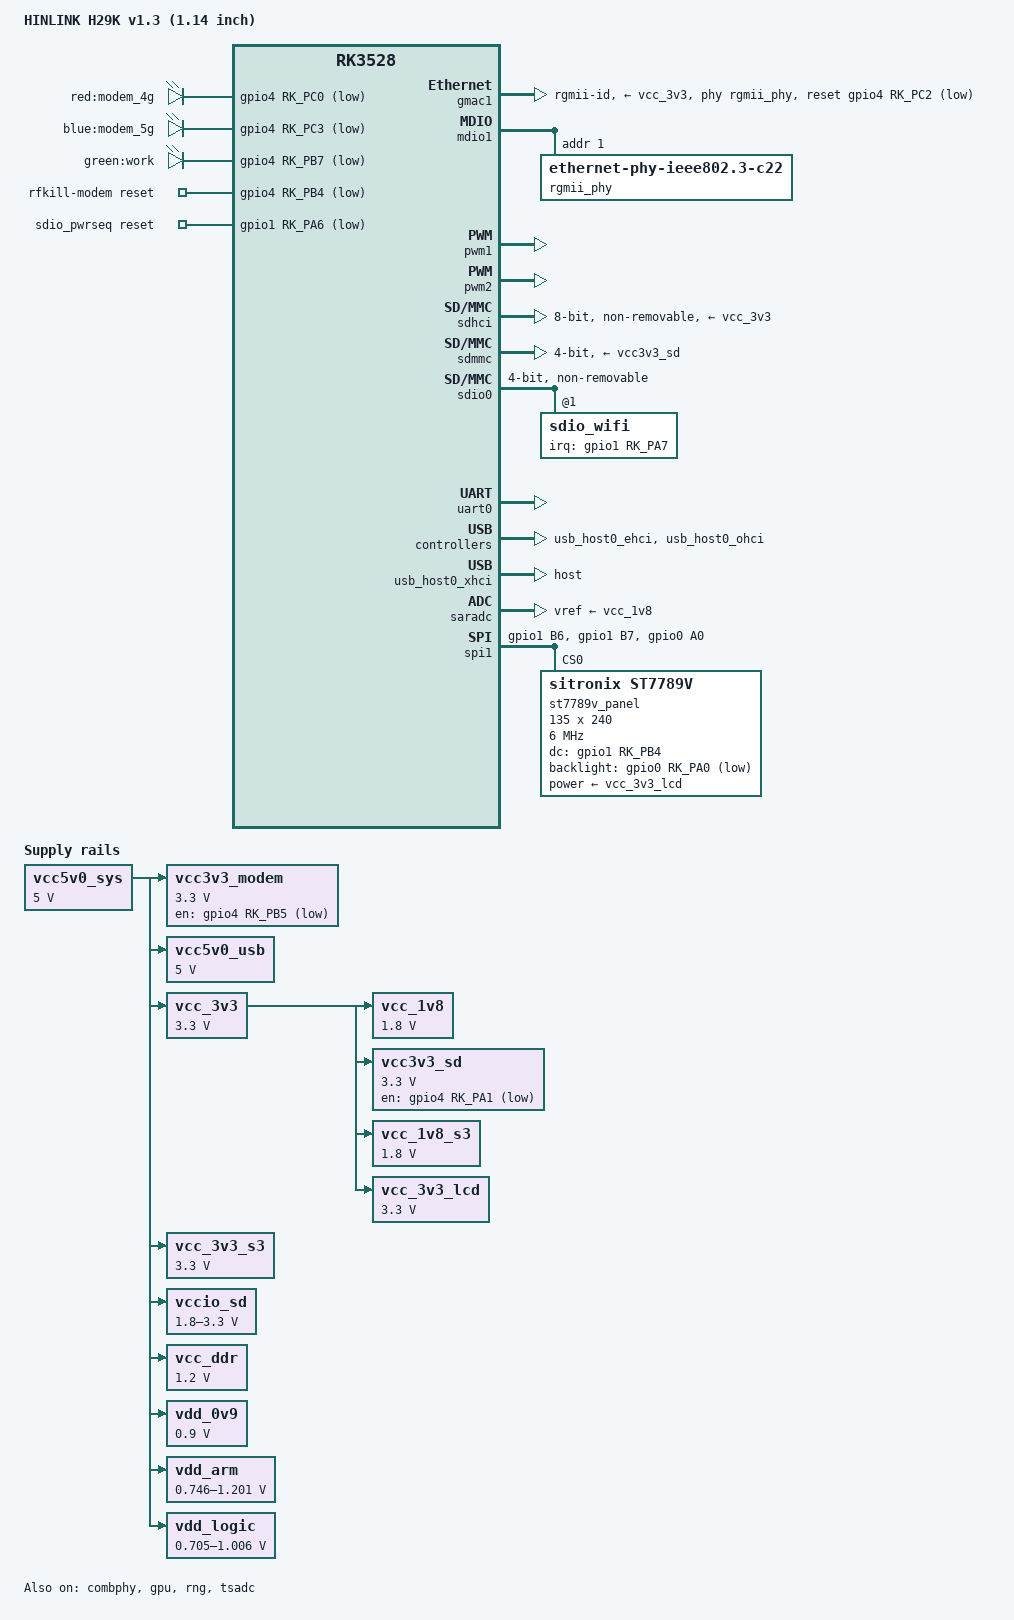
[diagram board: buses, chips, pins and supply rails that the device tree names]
// SPDX-License-Identifier: (GPL-2.0+ OR MIT)
/*
 * HinLink H29K —— v1.3 主板 + 1.14 寸屏（135x240 rot270）
 *
 * ★ 网络：**单网口** —— 只有板载 RGMII(gmac1)。
 *   本 DTS 不含任何 PCIe 网卡节点，因此枚举结果只有 eth0。
 *   厂商 DTS 与上游 unifreq rk3528-hlink-h29k.dts 同样是单口
 *   （aliases 里只有 ethernet0 = &gmac1），两侧一致。
 *   ⇒ board.d/02_network 对本机只映射 eth0，不设独立 WAN。
 *
 * ★ 屏幕尺寸只保留 1.14" 与 1.49" 两种；厂商的 1.9" / 2.8" 变体已移除。
 */

/dts-v1/;
#include <dt-bindings/gpio/gpio.h>
#include <dt-bindings/pinctrl/rockchip.h>

#include "rk3528.dtsi"

/ {
	model = "HINLINK H29K v1.3 (1.14 inch)";
	// 屏幕: 1.14" 135x240 rot270
	// 屏幕: 1.14" 135x240
	compatible = "hinlink,h29k-v1.3-114", "hinlink,h29k", "rockchip,rk3528";

	aliases {
		mmc0 = &sdhci;
		mmc1 = &sdmmc;
		mmc2 = &sdio0;
		ethernet0 = &gmac1;

		led-boot = &led_work;
		led-failsafe = &led_work;
		led-running = &led_work;
		led-upgrade = &led_work;
	};

	chosen {
		stdout-path = "serial0:1500000n8";
	};

	leds {
		compatible = "gpio-leds";
		pinctrl-names = "default";
		pinctrl-0 = <&modem_4g_led>,<&modem_5g_led>, <&work_led_en>;

		modem_4g: modem_4g {
			label = "red:modem_4g";
			gpios = <&gpio4 RK_PC0 GPIO_ACTIVE_LOW>;
		};

		modem_5g: modem_5g {
			label = "blue:modem_5g";
			gpios = <&gpio4 RK_PC3 GPIO_ACTIVE_LOW>;
		};

		led_work: work {
			label = "green:work";
			gpios = <&gpio4 RK_PB7 GPIO_ACTIVE_LOW>;
		};
	};




	/*
	 * ============ 5G 模组：供电（regulator）+ 复位（rfkill-gpio）============
	 *
	 * 硬件（厂商 H29K 固件 dtb f3_318a000_40194.dtb，
	 * model="HINLINK H29K Board"，逐字段实证）：
	 *
	 *     rfkill-modem {
	 *         compatible = "rfkill-gpio";
	 *         type = "wwan";
	 *         reset-gpios = <&gpio4 RK_PB4 GPIO_ACTIVE_LOW>;   ← 复位
	 *         power-gpios = <&gpio4 RK_PB5 GPIO_ACTIVE_LOW>;   ← 供电
	 *     };
	 *
	 * 厂商这段**不能直接照抄**，两个坑：
	 *   1) `power-gpios` 在 6.18 上**没有任何实现** ——
	 *      net/rfkill/rfkill-gpio.c 只 request `reset` / `shutdown`。
	 *      ⇒ 供电脚 GPIO4_B5 得另找主人，本文件交给 vcc3v3_modem regulator。
	 *   2) 属性名变了：6.18 对 DT 节点读 `label` / `radio-type`，
	 *      厂商写的 `name` / `type` 会被忽略（type 退化成 RFKILL_TYPE_ALL，
	 *      按 type 就找不到设备）。
	 *
	 * 分工（详见 docs/HARDWARE.md §四、§4.9）：
	 *   · `vcc3v3_modem`（regulator，GPIO4_B5）—— 供电，常开
	 *   · `rfkill-modem`（rfkill-gpio，GPIO4_B4）—— 复位，**可软复位**
	 *       用户态：echo 0 > /sys/class/rfkill/rfkillN/state   （拉复位）
	 *               echo 1 > /sys/class/rfkill/rfkillN/state   （释放）
	 *       已封装成 `/etc/init.d/hinlink-modem-hardreset reset`。
	 *
	 * ★★ 极性：只由 `enable-active-high` 决定，不能凭 GPIO_ACTIVE_LOW 猜 ★★
	 *   6.18 的 drivers/gpio/gpiolib-of.c 里有一张极性映射表，注释原文：
	 *     "The regulator GPIO handles are specified such that the presence
	 *      or absence of enable-active-high solely controls the polarity of
	 *      the GPIO line. Any phandle flags must be actively ignored."
	 *   ⇒ 下面的 vcc3v3_modem **不写** enable-active-high = 低电平使能
	 *     （与厂商 rfkill 段里 GPIO_ACTIVE_LOW 表达的意图一致）。
	 *     写了 enable-active-high 会变成高电平使能，模组将无法上电。
	 */
	vcc3v3_modem: vcc3v3-modem {
		compatible = "regulator-fixed";
		regulator-name = "vcc3v3_modem";
		gpio = <&gpio4 RK_PB5 GPIO_ACTIVE_LOW>;   /* 仅语义标注，内核忽略 flag */
		regulator-always-on;
		regulator-boot-on;
		regulator-min-microvolt = <3300000>;
		regulator-max-microvolt = <3300000>;
		startup-delay-us = <5000>;                /* 电源稳定 5ms */
		vin-supply = <&vcc5v0_sys>;
		pinctrl-names = "default";
		pinctrl-0 = <&modem_power_en>;
	};

	/*
	 * ============ 5G 模组复位 —— 交给 rfkill-gpio，换来「软复位」============
	 *
	 * 供电仍由上面的 vcc3v3_modem regulator 负责（内核保证上电）；
	 * 复位脚 GPIO4_B4 交给 rfkill-gpio。
	 *
	 * ★ 为什么要交给 rfkill-gpio：regulator-fixed 和 rfkill-gpio 都会
	 *   **占用**这个 GPIO（用户态 export 必 EBUSY），但 rfkill-gpio 在
	 *   /sys/class/rfkill/ 下留了一个**可写**的 state 属性 ——
	 *   6.18 net/rfkill/core.c: `static DEVICE_ATTR_RW(state)`，其
	 *   state_store() 会调 rfkill_set_block() → rfkill_gpio_set_power()：
	 *
	 *       echo 0 > /sys/class/rfkill/rfkillN/state   → blocked=1
	 *             → gpiod_set_value(reset_gpio, 0)     = 复位有效
	 *       echo 1 > /sys/class/rfkill/rfkillN/state   → blocked=0
	 *             → gpiod_set_value(reset_gpio, 1)     = 复位释放
	 *
	 *   ⇒ 0 → 等一会儿 → 1 就是一次完整的复位脉冲，而且**不需要装
	 *     rfkill 命令**（纯 sysfs）。已封装成 /etc/init.d/hinlink-modem-hardreset reset。
	 *
	 * ⚠️ 属性名必须是 `label` + `radio-type`
	 *   6.18 的 rfkill_gpio_probe() 对 DT 节点读的是：
	 *       name_property = "label";   type_property = "radio-type";
	 *   （只有非 DT 路径才读 "name" / "type"）。
	 *   厂商 dtb 写的是 `type = "wwan"` —— 在老内核有效，在 6.18 **被忽略**，
	 *   type 退化成 RFKILL_TYPE_ALL，按 type 查找就找不到设备了。
	 *
	 * ⚠️ 不要再写 `power-gpios` —— 6.18 的 rfkill-gpio 只 request
	 *   `reset` / `shutdown`，`power` 无任何实现（见 docs/HARDWARE.md §4.4）。
	 *
	 * 极性：厂商 dtb 标 GPIO_ACTIVE_LOW。unblock 时 gpiod_set_value(1)
	 *   → 物理**低** = 模组工作；block 时物理**高** = 复位。
	 */
	rfkill-modem {
		compatible = "rfkill-gpio";
		label = "rfkill-modem";
		radio-type = "wwan";
		reset-gpios = <&gpio4 RK_PB4 GPIO_ACTIVE_LOW>;
		pinctrl-names = "default";
		pinctrl-0 = <&modem_reset_en>;
	};


	vcc5v0_sys: vcc5v0-sys {
		compatible = "regulator-fixed";
		regulator-name = "vcc5v0_sys";
		regulator-always-on;
		regulator-boot-on;
		regulator-min-microvolt = <5000000>;
		regulator-max-microvolt = <5000000>;
	};
	
	vcc5v0_usb: vcc5v0-usb {
		compatible = "regulator-fixed";
		regulator-name = "vcc5v0_usb";
		regulator-always-on;
		regulator-boot-on;
		regulator-min-microvolt = <5000000>;
		regulator-max-microvolt = <5000000>;
		vin-supply = <&vcc5v0_sys>;
	};

	vcc_3v3: vcc-3v3 {
		compatible = "regulator-fixed";
		regulator-name = "vcc_3v3";
		regulator-always-on;
		regulator-boot-on;
		regulator-min-microvolt = <3300000>;
		regulator-max-microvolt = <3300000>;
		vin-supply = <&vcc5v0_sys>;
	};

	vcc_1v8: vcc-1v8 {
		compatible = "regulator-fixed";
		regulator-name = "vcc_1v8";
		regulator-always-on;
		regulator-boot-on;
		regulator-min-microvolt = <1800000>;
		regulator-max-microvolt = <1800000>;
		vin-supply = <&vcc_3v3>;
	};

	vcc3v3_sd: vcc3v3-sd {
		compatible = "regulator-fixed";
		gpio = <&gpio4 RK_PA1 GPIO_ACTIVE_LOW>;
		regulator-name = "vcc3v3_sd";
		regulator-always-on;
		regulator-boot-on;
		regulator-min-microvolt = <3300000>;
		regulator-max-microvolt = <3300000>;
		vin-supply = <&vcc_3v3>;
	};
	
	vcc_3v3_s3: vcc-3v3-s3 {
		compatible = "regulator-fixed";
		regulator-name = "vcc_3v3_s3";
		regulator-always-on;
		regulator-boot-on;
		regulator-min-microvolt = <3300000>;
		regulator-max-microvolt = <3300000>;
		vin-supply = <&vcc5v0_sys>;
	};

	vcc_1v8_s3: vcc-1v8-s3 {
		compatible = "regulator-fixed";
		regulator-name = "vcc_1v8_s3";
		regulator-always-on;
		regulator-boot-on;
		regulator-min-microvolt = <1800000>;
		regulator-max-microvolt = <1800000>;
		vin-supply = <&vcc_3v3>;
	};

	vcc_3v3_lcd: vcc-3v3-lcd {
		compatible = "regulator-fixed";
		regulator-name = "vcc_3v3_lcd";
		regulator-min-microvolt = <3300000>;
		regulator-max-microvolt = <3300000>;
		vin-supply = <&vcc_3v3>;
	};

	vccio_sd: vccio-sd {
		compatible = "regulator-gpio";
		gpios = <&gpio4 RK_PB6 GPIO_ACTIVE_HIGH>;
		regulator-name = "vccio_sd";
		regulator-min-microvolt = <1800000>;
		regulator-max-microvolt = <3300000>;
		states = <1800000 0x0>, <3300000 0x1>;
		vin-supply = <&vcc5v0_sys>;
	};

	vcc_ddr: vcc-ddr {
		compatible = "regulator-fixed";
		regulator-name = "vcc_ddr";
		regulator-always-on;
		regulator-boot-on;
		regulator-min-microvolt = <1200000>;
		regulator-max-microvolt = <1200000>;
		vin-supply = <&vcc5v0_sys>;
	};

	vdd_0v9: vdd-0v9 {
		compatible = "regulator-fixed";
		regulator-name = "vdd_0v9";
		regulator-always-on;
		regulator-boot-on;
		regulator-min-microvolt = <900000>;
		regulator-max-microvolt = <900000>;
		vin-supply = <&vcc5v0_sys>;
	};

	vdd_arm: vdd-arm {
		compatible = "pwm-regulator";
		pwms = <&pwm1 0 5000 1>;
		regulator-name = "vdd_arm";
		regulator-min-microvolt = <746000>;
		regulator-max-microvolt = <1201000>;
		regulator-always-on;
		regulator-boot-on;
		regulator-settling-time-up-us = <250>;
		pwm-supply = <&vcc5v0_sys>;
		/*
		 * ★ 厂商 H29K dtb 未提供 ramp-delay，但不加会打
		 *   `vdd_cpu: ramp_delay not set` 警告。
		 *   本机与 H28K/HT2 是同一路 5kHz PWM 调压、
		 *   电压范围逐字节相同（vdd_arm 746~1201000 /
		 *   vdd_logic 705~1006000），故取厂商 H28K 的 6001。
		 */
		regulator-ramp-delay = <6001>;
	};

	vdd_logic: vdd-logic {
		compatible = "pwm-regulator";
		pwms = <&pwm2 0 5000 1>;
		regulator-name = "vdd_logic";
		regulator-min-microvolt = <705000>;
		regulator-max-microvolt = <1006000>;
		regulator-always-on;
		regulator-boot-on;
		regulator-settling-time-up-us = <250>;
		pwm-supply = <&vcc5v0_sys>;
		/*
		 * ★ 厂商 H29K dtb 未提供 ramp-delay，但不加会打
		 *   `vdd_cpu: ramp_delay not set` 警告。
		 *   本机与 H28K/HT2 是同一路 5kHz PWM 调压、
		 *   电压范围逐字节相同（vdd_arm 746~1201000 /
		 *   vdd_logic 705~1006000），故取厂商 H28K 的 6001。
		 */
		regulator-ramp-delay = <6001>;
	};

	sdio_pwrseq: sdio-pwrseq {
		compatible = "mmc-pwrseq-simple";
		pinctrl-names = "default";
		pinctrl-0 = <&wifi_enable_h>;
		reset-gpios = <&gpio1 RK_PA6 GPIO_ACTIVE_LOW>;
	};
};

&combphy {
	status = "okay";
};

&cpu0 {
	cpu-supply = <&vdd_arm>;
};

&cpu1 {
	cpu-supply = <&vdd_arm>;
};

&cpu2 {
	cpu-supply = <&vdd_arm>;
};

&cpu3 {
	cpu-supply = <&vdd_arm>;
};

/*
 * ★ 已注释：内核 6.18 的 rk3528.dtsi 里**没有 sfc 节点**
 *   （实测 dtc 报 "Label or path sfc not found"）。
 *   RK3528 是 Linux 6.14 才引入的，该 SoC 的 sfc 支持尚不完整。
 *   保留原文以便内核补齐后直接恢复。
 * &sfc {
 * 	status = "okay";
 * };
 */

&gmac1 {
	clock_in_out = "output";
	pinctrl-names = "default";
	pinctrl-0 = <&rgmii_miim
		     &rgmii_tx_bus2
		     &rgmii_rx_bus2
		     &rgmii_rgmii_clk
		     &rgmii_rgmii_bus>;
	phy-handle = <&rgmii_phy>;
	phy-mode = "rgmii-id";
	phy-supply = <&vcc_3v3>;
	snps,reset-active-low;
	snps,reset-delays-us = <0 20000 100000>;
	snps,reset-gpio = <&gpio4 RK_PC2 GPIO_ACTIVE_LOW>;
	status = "okay";
};

&gpu {
	mali-supply = <&vdd_logic>;
	status = "okay";
};

&mdio1 {
	rgmii_phy: phy@1 {
		compatible = "ethernet-phy-ieee802.3-c22";
		reg = <0x1>;
	};
};

&pinctrl {
	leds {

		work_led_en: led-work-en {
			rockchip,pins = <4 RK_PB7 RK_FUNC_GPIO &pcfg_pull_none>;
		};

		modem_4g_led: modem_4g_led{
			rockchip,pins = <4 RK_PC0 RK_FUNC_GPIO &pcfg_pull_none>;
		};

		modem_5g_led: modem_5g_led{
			rockchip,pins = <4 RK_PC3 RK_FUNC_GPIO &pcfg_pull_none>;
		};
	};
	
	wifi {
		wifi_enable_h: wifi-enable-h {
			rockchip,pins = <1 RK_PA6 RK_FUNC_GPIO &pcfg_pull_none>;
		};

		wifi_host_wake: wifi-host-wake {
			rockchip,pins = <1 RK_PA7 RK_FUNC_GPIO &pcfg_pull_down>;
		};
	};

	/* 5G 模组：供电 + 复位（GPIO4_B5 / GPIO4_B4，厂商 dtb 实证） */
	modem {
		modem_power_en: modem-power-en {
			rockchip,pins = <4 RK_PB5 RK_FUNC_GPIO &pcfg_pull_none>;
		};

		modem_reset_en: modem-reset-en {
			rockchip,pins = <4 RK_PB4 RK_FUNC_GPIO &pcfg_pull_none>;
		};
	};

	bluetooth {
		bt_enable_h: bt-enable-h {
			rockchip,pins = <1 RK_PC1 RK_FUNC_GPIO &pcfg_pull_down>;
		};

		uart2m1_gpios: uart2m1-gpios {
			rockchip,pins = <1 RK_PB2 RK_FUNC_GPIO &pcfg_pull_none>;
		};
	};

	lcd {
		lcd_dc_pin: lcd-dc-pin {
			rockchip,pins = <1 RK_PB4 RK_FUNC_GPIO &pcfg_pull_up_drv_level_6>;
		};
		
		spi1_custom_pins: spi4-custom-pins {
			rockchip,pins =
				/* spi1_clk_m2 */
				<1 RK_PB6 2 &pcfg_pull_none_drv_level_2>,
				/* spi1_mosi_m2 */
				<1 RK_PB7 2 &pcfg_pull_none_drv_level_2>;
		};

		lcd_backlight_pin: lcd-backlight-pin {
            rockchip,pins = <0 RK_PA0 RK_FUNC_GPIO &pcfg_pull_up>;  // 背光引脚
        };
	};
    
};


&pwm1 {
	status = "okay";
};

&pwm2 {
	status = "okay";
};

&rng {
	status = "okay";
};

&sdhci {
	bus-width = <8>;
	mmc-hs200-1_8v;
	max-frequency = <200000000>;
	non-removable;
	pinctrl-names = "default";
	pinctrl-0 = <&emmc_bus8 &emmc_clk &emmc_cmd &emmc_strb>;
	vmmc-supply = <&vcc_3v3>;
	vqmmc-supply = <&vcc_1v8>;
	status = "okay";
};


&sdmmc {
	bus-width = <4>;
	cap-sd-highspeed;
	disable-wp;
	max-frequency = <150000000>;
	pinctrl-names = "default";
	pinctrl-0 = <&sdmmc_bus4 &sdmmc_clk &sdmmc_cmd &sdmmc_det>;
	rockchip,default-sample-phase = <90>;
	sd-uhs-sdr12;
	sd-uhs-sdr25;
	sd-uhs-sdr50;
	sd-uhs-sdr104;
	vmmc-supply = <&vcc3v3_sd>;
	vqmmc-supply = <&vccio_sd>;
	status = "okay";
};

&sdio0 {
	#address-cells = <1>;
	#size-cells = <0>;
	bus-width = <4>;
	cap-sd-highspeed;
	cap-sdio-irq;
	keep-power-in-suspend;
	max-frequency = <200000000>;
	mmc-pwrseq = <&sdio_pwrseq>;
	pinctrl-names = "default";
	pinctrl-0 = <&sdio0_bus4 &sdio0_cmd &sdio0_clk>;
	post-power-on-delay-ms = <50>;
	non-removable;
	sd-uhs-sdr104;
	status = "okay";

	sdio_wifi@1 {

		reg = <1>;
		interrupt-parent = <&gpio1>;
		interrupts = <RK_PA7 IRQ_TYPE_LEVEL_HIGH>;
		interrupt-names = "host-wake";
		pinctrl-names = "default";
		pinctrl-0 = <&wifi_host_wake>;
	};
};

&tsadc {
	status = "okay";
};

&uart0 {
	pinctrl-names = "default";
	pinctrl-0 = <&uart0m0_xfer>;
	status = "okay";
};

/*
 * ★ 已注释：内核 6.18 的 rk3528.dtsi 里**没有 usb2phy0_host 节点**
 *   （实测 dtc 报 "Label or path usb2phy0_host not found"）。
 *   RK3528 是 Linux 6.14 才引入的，该 SoC 的 usb2phy0_host 支持尚不完整。
 *   保留原文以便内核补齐后直接恢复。
 * &usb2phy0_host {
 * 	phy-supply = <&vcc5v0_sys>;
 * 	status = "okay";
 * };
 */

/*
 * ★ 已注释：内核 6.18 的 rk3528.dtsi 里**没有 usb2phy0_otg 节点**
 *   （实测 dtc 报 "Label or path usb2phy0_otg not found"）。
 *   RK3528 自 Linux 6.14 引入，该 SoC 的 USB2 PHY 支持尚不完整。
 *   保留原文以便内核补齐后直接恢复。
 * &usb2phy0_otg {
 * 	phy-supply = <&vcc5v0_sys>;
 * 	vbus-supply = <&vcc_3v3>;
 * 	status = "okay";
 * };
 */

/*
 * ★ 已注释：内核 6.18 的 rk3528.dtsi 里**没有 usb2phy 节点**
 *   （实测 dtc 报 "Label or path usb2phy not found"）。
 *   RK3528 自 Linux 6.14 引入，该 SoC 的 USB2 PHY 支持尚不完整。
 *   保留原文以便内核补齐后直接恢复。
 * &usb2phy {
 * 	status = "okay";
 * };
 */

// &usbdrd30 {
//	status = "okay";
// };

// &usbdrd_dwc3 {
// 	dr_mode = "host";
// 	status = "okay";
// };

&usb_host0_ehci {
	status = "okay";
};

&usb_host0_ohci {
	status = "okay";
};

&usb_host0_xhci {
	dr_mode = "host";
	status = "okay";
};

&saradc {
    compatible = "rockchip,rk3528-saradc";
	vref-supply = <&vcc_1v8>;
	status = "okay";
};



&spi1 {  
	#address-cells = <1>;  
	#size-cells = <0>;  
	assigned-clocks = <&cru CLK_SPI1>;  
	assigned-clock-rates = <200000000>;  
	num-cs = <1>; 
	pinctrl-names = "default"; 
	pinctrl-0 = <&spi1_custom_pins &lcd_backlight_pin>; 
	status = "okay"; 

	st7789v_panel: panel@0 {  
		compatible = "sitronix,st7789v";  
		reg = <0>;  
		power-supply = <&vcc_3v3_lcd>;  

		pinctrl-names = "default";  
		pinctrl-0 = <&lcd_dc_pin>;  
		dc-gpios = <&gpio1 RK_PB4 GPIO_ACTIVE_HIGH>; 
		backlight-gpios = <&gpio0 RK_PA0 GPIO_ACTIVE_LOW>;  


        spi-max-frequency = <6000000>;  

		width = <135>; 
		height = <240>;  
		
		buswidth = <8>;  
		rotate = <270>;  


		/*
		 * 显示偏移（配合 patches/9999-fbtft-read-display-offset-from-dt.patch）
		 * ST7789V 135x240 面板在 rotate 后显存窗口需平移才能对上可见区。
		 * 数值来自原厂 1.14" 偏移 patch：
		 *   rotate 90/270  ->  x += 40, y += 52
		 *   rotate 0/180   ->  x += 52, y += 40
		 * 上游 unifreq PR#19 给 H89K 标的 x-offset=40 / y-offset=52 与此吻合。
		 */
		x-offset = <40>;
		y-offset = <52>;
		x-offset-0 = <52>;
		y-offset-0 = <40>;
		
		
		debug = <0>;  
		spi-cpol;  
		spi-cpha;  
		
	};
};

 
